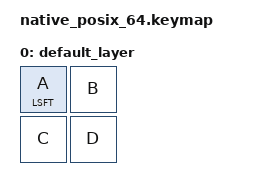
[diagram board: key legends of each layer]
#include <dt-bindings/zmk/keys.h>
#include <behaviors.dtsi>
#include <dt-bindings/zmk/kscan_mock.h>

/ {
    behaviors {
        ht: behavior_hold_tap_balanced {
            compatible = "zmk,behavior-hold-tap";
            #binding-cells = <2>;
            flavor = "balanced";
            tapping-term-ms = <300>;
            bindings = <&kp>, <&kp>;
            force-hold-key-positions = <1 2>;
        };
    };

    keymap {
        compatible = "zmk,keymap";

        default_layer {
            bindings = <
                &ht LSFT A &kp B
                &kp C      &kp D>;
        };
    };
};

&kscan {
    events = <
        /* tap */
        ZMK_MOCK_PRESS(0,0,10)
        ZMK_MOCK_RELEASE(0,0,10)

        /* hold  */
        ZMK_MOCK_PRESS(0,0,10)
        ZMK_MOCK_PRESS(0,1,10)
        ZMK_MOCK_RELEASE(0,0,400)
        ZMK_MOCK_RELEASE(0,1,10)
    >;
};
